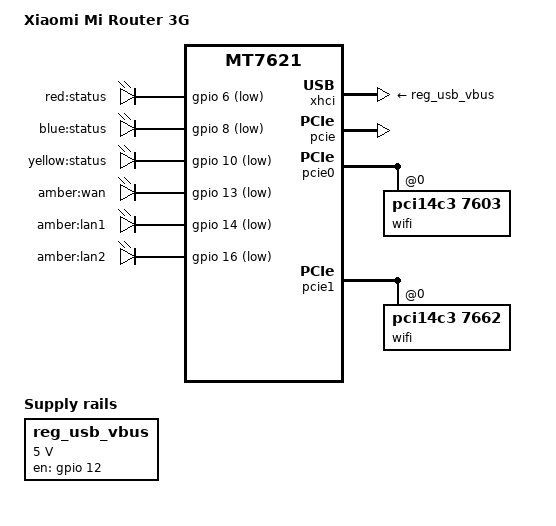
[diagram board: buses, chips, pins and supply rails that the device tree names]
#include "mt7621_xiaomi_nand_128m.dtsi"

/ {
	compatible = "xiaomi,mi-router-3g", "mediatek,mt7621-soc";
	model = "Xiaomi Mi Router 3G";

	aliases {
		led-boot = &led_status_yellow;
		led-failsafe = &led_status_red;
		led-running = &led_status_blue;
		led-upgrade = &led_status_yellow;
		label-mac-device = &gmac0;
	};

	leds {
		compatible = "gpio-leds";

		led_status_red: status_red {
			label = "red:status";
			gpios = <&gpio 6 GPIO_ACTIVE_LOW>;
		};

		led_status_blue: status_blue {
			label = "blue:status";
			gpios = <&gpio 8 GPIO_ACTIVE_LOW>;
		};

		led_status_yellow: status_yellow {
			label = "yellow:status";
			gpios = <&gpio 10 GPIO_ACTIVE_LOW>;
		};

		wan_amber {
			label = "amber:wan";
			gpios = <&gpio 13 GPIO_ACTIVE_LOW>;
			linux,default-trigger = "dsa-0.0:01:1Gbps";
		};

		lan1_amber {
			label = "amber:lan1";
			gpios = <&gpio 14 GPIO_ACTIVE_LOW>;
			linux,default-trigger = "dsa-0.0:03:1Gbps";
		};

		lan2_amber {
			label = "amber:lan2";
			gpios = <&gpio 16 GPIO_ACTIVE_LOW>;
			linux,default-trigger = "dsa-0.0:02:1Gbps";
		};
	};

	reg_usb_vbus: regulator {
		compatible = "regulator-fixed";
		regulator-name = "usb_vbus";
		regulator-min-microvolt = <5000000>;
		regulator-max-microvolt = <5000000>;
		gpio = <&gpio 12 GPIO_ACTIVE_HIGH>;
		enable-active-high;
	};
};

&xhci {
	vbus-supply = <&reg_usb_vbus>;
};

&pcie {
	status = "okay";
};

&pcie0 {
	wifi@0,0 {
		compatible = "pci14c3,7603";
		reg = <0x0000 0 0 0 0>;
		mediatek,mtd-eeprom = <&factory 0x0000>;
		ieee80211-freq-limit = <2400000 2500000>;
	};
};

&pcie1 {
	wifi@0,0 {
		compatible = "pci14c3,7662";
		reg = <0x0000 0 0 0 0>;
		mediatek,mtd-eeprom = <&factory 0x8000>;
		ieee80211-freq-limit = <5000000 6000000>;
	};
};

&gmac0 {
	mtd-mac-address = <&factory 0xe006>;
};

&switch0 {
	ports {
		port@1 {
			status = "okay";
			label = "wan";
			mtd-mac-address = <&factory 0xe000>;
		};

		port@2 {
			status = "okay";
			label = "lan2";
		};

		port@3 {
			status = "okay";
			label = "lan1";
		};
	};
};

&state_default {
	gpio {
		groups = "jtag", "uart2", "uart3", "wdt";
		function = "gpio";
	};
};
